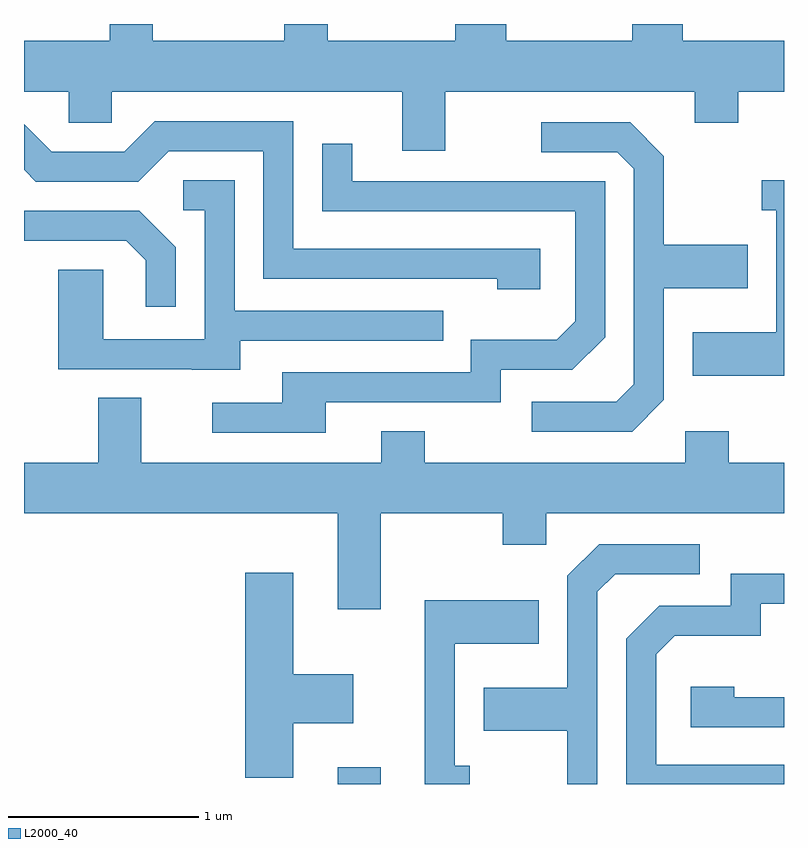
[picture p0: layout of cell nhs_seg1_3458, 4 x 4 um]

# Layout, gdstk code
import gdstk
lib = gdstk.Library(unit=1e-6, precision=1e-09)
def R(c, l, rs):  # rectangles x0, y0, x1, y1
    for r in rs: c.add(gdstk.rectangle(r[:2], r[2:], *l))
def P(c, l, *ps):  # polygons
    for p in ps: c.add(gdstk.Polygon(p, *l))
L2000_40 = (2000, 40)

nhs_seg1_3458 = lib.new_cell('nhs_seg1_3458')
R(nhs_seg1_3458, L2000_40, [(291.261,893.712,291.489,893.799)])
P(nhs_seg1_3458, L2000_40, [(291.829,897.356),(293.141,897.356),(293.141,897.191),(293.369,897.191),(293.369,897.356),(293.611,897.356),(293.611,897.624),(293.079,897.624),(293.079,897.712),(292.811,897.712),(292.811,897.624),(292.149,897.624),(292.149,897.712),(291.881,897.712),(291.881,897.624),(291.209,897.624),(291.209,897.712),(290.981,897.712),(290.981,897.624),(290.289,897.624),(290.289,897.712),(290.061,897.712),(290.061,897.624),(289.611,897.624),(289.611,897.356),(289.846,897.356),(289.846,897.191),(290.074,897.191),(290.074,897.356),(291.601,897.356),(291.601,897.046),(291.829,897.046)],
  [(292.329,896.529),(291.029,896.529),(291.029,897.199),(290.299,897.199),(290.139,897.039),(289.757,897.039),(289.611,897.185),(289.611,896.944),(289.674,896.881),(290.212,896.881),(290.372,897.041),(290.871,897.041),(290.871,896.371),(292.101,896.371),(292.101,896.316),(292.329,896.316)],
  [(292.979,895.734),(292.979,896.321),(293.419,896.321),(293.419,896.549),(292.979,896.549),(292.979,897.017),(292.802,897.194),(292.333,897.194),(292.333,897.036),(292.734,897.036),(292.821,896.949),(292.821,895.817),(292.729,895.724),(292.283,895.724),(292.283,895.566),(292.812,895.566)],
  [(291.199,895.721),(292.119,895.721),(292.119,895.891),(292.497,895.891),(292.669,896.064),(292.669,896.884),(291.339,896.884),(291.339,897.083),(291.181,897.083),(291.181,896.726),(292.511,896.726),(292.511,896.147),(292.414,896.049),(291.961,896.049),(291.961,895.879),(290.971,895.879),(290.971,895.719),(290.603,895.719),(290.603,895.561),(291.199,895.561)],
  [(293.611,896.889),(293.493,896.889),(293.493,896.731),(293.571,896.731),(293.571,896.089),(293.131,896.089),(293.131,895.861),(293.611,895.861)],
  [(290.749,896.046),(291.818,896.046),(291.818,896.204),(290.719,896.204),(290.719,896.889),(290.448,896.889),(290.448,896.731),(290.561,896.731),(290.561,896.054),(290.029,896.054),(290.029,896.419),(289.791,896.419),(289.791,895.896),(290.495,895.896),(290.495,895.891),(290.749,895.891)],
  [(290.409,896.537),(290.217,896.729),(289.611,896.729),(289.611,896.571),(290.149,896.571),(290.251,896.469),(290.251,896.223),(290.409,896.223)],
  [(291.489,895.136),(292.131,895.136),(292.131,894.971),(292.359,894.971),(292.359,895.136),(293.611,895.136),(293.611,895.404),(293.319,895.404),(293.319,895.569),(293.091,895.569),(293.091,895.404),(291.719,895.404),(291.719,895.569),(291.491,895.569),(291.491,895.404),(290.229,895.404),(290.229,895.744),(290.001,895.744),(290.001,895.404),(289.611,895.404),(289.611,895.136),(291.261,895.136),(291.261,894.631),(291.489,894.631)],
  [(292.629,894.724),(292.722,894.816),(293.168,894.816),(293.168,894.974),(292.639,894.974),(292.471,894.807),(292.471,894.219),(292.031,894.219),(292.031,893.991),(292.471,893.991),(292.471,893.712),(292.629,893.712)],
  [(291.029,894.031),(291.344,894.031),(291.344,894.289),(291.029,894.289),(291.029,894.824),(290.776,894.824),(290.776,893.746),(291.029,893.746)],
  [(293.611,893.814),(292.939,893.814),(292.939,894.394),(293.037,894.491),(293.489,894.491),(293.489,894.661),(293.611,894.661),(293.611,894.819),(293.331,894.819),(293.331,894.649),(292.954,894.649),(292.781,894.477),(292.781,893.712),(293.611,893.712)],
  [(291.958,893.809),(291.879,893.809),(291.879,894.451),(292.319,894.451),(292.319,894.679),(291.721,894.679),(291.721,893.712),(291.958,893.712)],
  [(293.611,894.169),(293.349,894.169),(293.349,894.224),(293.121,894.224),(293.121,894.011),(293.611,894.011)])

lib.write_gds('nhs_seg1_3458.gds')
